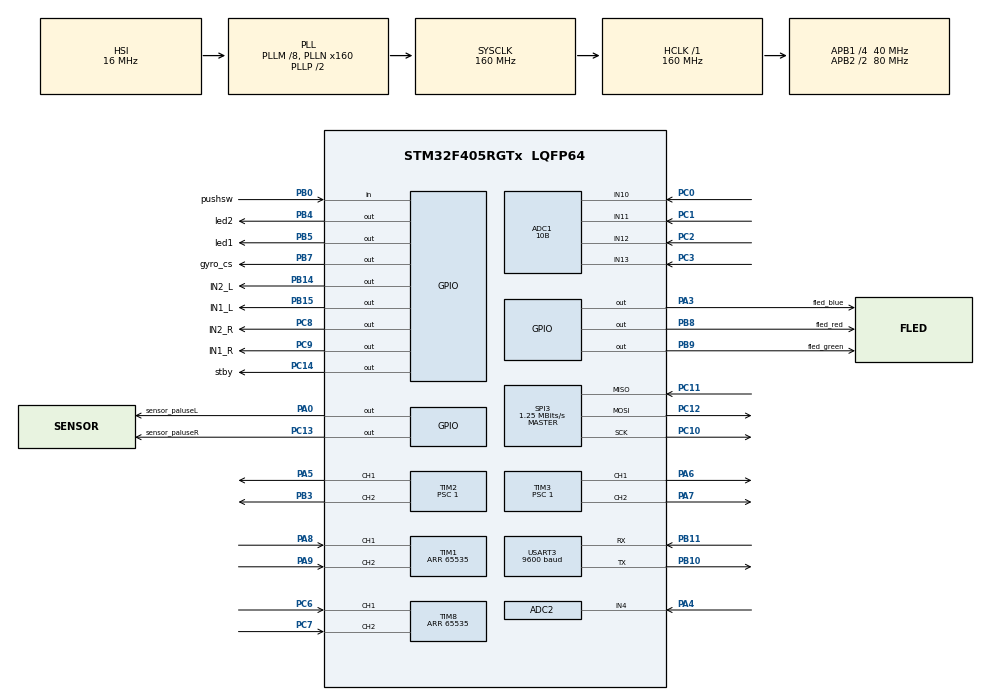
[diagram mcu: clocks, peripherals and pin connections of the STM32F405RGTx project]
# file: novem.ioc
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ADC1.Channel-0\#ChannelRegularConversion=ADC_CHANNEL_10
ADC1.Channel-1\#ChannelRegularConversion=ADC_CHANNEL_11
ADC1.Channel-2\#ChannelRegularConversion=ADC_CHANNEL_12
ADC1.Channel-3\#ChannelRegularConversion=ADC_CHANNEL_13
ADC1.ClockPrescaler=ADC_CLOCK_SYNC_PCLK_DIV4
ADC1.ContinuousConvMode=ENABLE
ADC1.DMAContinuousRequests=ENABLE
ADC1.DataAlign=ADC_DATAALIGN_RIGHT
ADC1.DiscontinuousConvMode=DISABLE
ADC1.EOCSelection=ADC_EOC_SINGLE_CONV
ADC1.EnableAnalogWatchDog=false
ADC1.ExternalTrigConv=ADC_SOFTWARE_START
ADC1.ExternalTrigConvEdge=ADC_EXTERNALTRIGCONVEDGE_NONE
ADC1.InjNumberOfConversion=0
ADC1.NbrOfConversion=4
ADC1.NbrOfConversionFlag=1
ADC1.Rank-0\#ChannelRegularConversion=1
ADC1.Rank-1\#ChannelRegularConversion=2
ADC1.Rank-2\#ChannelRegularConversion=3
ADC1.Rank-3\#ChannelRegularConversion=4
ADC1.Resolution=ADC_RESOLUTION_10B
ADC1.SamplingTime-0\#ChannelRegularConversion=ADC_SAMPLETIME_15CYCLES
ADC1.SamplingTime-1\#ChannelRegularConversion=ADC_SAMPLETIME_15CYCLES
ADC1.SamplingTime-2\#ChannelRegularConversion=ADC_SAMPLETIME_15CYCLES
ADC1.SamplingTime-3\#ChannelRegularConversion=ADC_SAMPLETIME_15CYCLES
ADC1.ScanConvMode=ENABLE
ADC1.master=1
ADC2.Channel-0\#ChannelRegularConversion=ADC_CHANNEL_4
ADC2.ClockPrescaler=ADC_CLOCK_SYNC_PCLK_DIV4
ADC2.ContinuousConvMode=ENABLE
ADC2.DMAContinuousRequests=DISABLE
ADC2.DataAlign=ADC_DATAALIGN_RIGHT
ADC2.DiscontinuousConvMode=DISABLE
ADC2.EOCSelection=ADC_EOC_SINGLE_CONV
ADC2.EnableAnalogWatchDog=false
ADC2.ExternalTrigConv=ADC_SOFTWARE_START
ADC2.ExternalTrigConvEdge=ADC_EXTERNALTRIGCONVEDGE_NONE
ADC2.InjNumberOfConversion=0
ADC2.NbrOfConversion=1
ADC2.NbrOfConversionFlag=1
ADC2.Rank-0\#ChannelRegularConversion=1
ADC2.Resolution=ADC_RESOLUTION_10B
ADC2.SamplingTime-0\#ChannelRegularConversion=ADC_SAMPLETIME_28CYCLES
ADC2.ScanConvMode=DISABLE
Dma.ADC1.0.Direction=DMA_PERIPH_TO_MEMORY
Dma.ADC1.0.FIFOMode=DMA_FIFOMODE_DISABLE
Dma.ADC1.0.Instance=DMA2_Stream4
Dma.ADC1.0.MemDataAlignment=DMA_MDATAALIGN_HALFWORD
Dma.ADC1.0.MemInc=DMA_MINC_ENABLE
Dma.ADC1.0.Mode=DMA_NORMAL
Dma.ADC1.0.PeriphDataAlignment=DMA_PDATAALIGN_HALFWORD
Dma.ADC1.0.PeriphInc=DMA_PINC_DISABLE
Dma.ADC1.0.Priority=DMA_PRIORITY_LOW
Dma.Request0=ADC1
Mcu.Family=STM32F4
Mcu.Name=STM32F405RGTx
Mcu.Package=LQFP64
NVIC.DMA2_Stream4_IRQn=true\:0\:0\:false\:false\:true\:false
NVIC.PriorityGroup=NVIC_PRIORITYGROUP_4
PA0-WKUP.GPIO_Label=sensor_paluseL
PA0-WKUP.Signal=GPIO_Output
PA3.GPIO_Label=fled_blue
PA3.Signal=GPIO_Output
PA4.Signal=ADCx_IN4
PA5.Signal=S_TIM2_CH1_ETR
PA6.Signal=S_TIM3_CH1
PA7.Signal=S_TIM3_CH2
PA8.Signal=S_TIM1_CH1
PA9.Signal=S_TIM1_CH2
PB0.GPIO_Label=pushsw
PB0.Signal=GPIO_Input
PB10.Mode=Asynchronous
PB10.Signal=USART3_TX
PB11.Mode=Asynchronous
PB11.Signal=USART3_RX
PB14.GPIO_Label=IN2_L
PB14.Signal=GPIO_Output
PB15.GPIO_Label=IN1_L
PB15.Signal=GPIO_Output
PB3.Signal=S_TIM2_CH2
PB4.GPIO_Label=led2
PB4.Signal=GPIO_Output
PB5.GPIO_Label=led1
PB5.Signal=GPIO_Output
PB7.GPIO_Label=gyro_cs
PB7.Signal=GPIO_Output
PB8.GPIO_Label=fled_red
PB8.Signal=GPIO_Output
PB9.GPIO_Label=fled_green
PB9.Signal=GPIO_Output
PC0.Signal=ADCx_IN10
PC1.Signal=ADCx_IN11
PC10.Mode=Full_Duplex_Master
PC10.Signal=SPI3_SCK
PC11.Mode=Full_Duplex_Master
PC11.Signal=SPI3_MISO
PC12.Mode=Full_Duplex_Master
PC12.Signal=SPI3_MOSI
PC13-ANTI_TAMP.GPIO_Label=sensor_paluseR
PC13-ANTI_TAMP.Signal=GPIO_Output
PC14-OSC32_IN.GPIO_Label=stby
PC14-OSC32_IN.Signal=GPIO_Output
PC2.Signal=ADCx_IN12
PC3.Signal=ADCx_IN13
PC6.Signal=S_TIM8_CH1
PC7.Signal=S_TIM8_CH2
PC8.GPIO_Label=IN2_R
PC8.Signal=GPIO_Output
PC9.GPIO_Label=IN1_R
PC9.Signal=GPIO_Output
PH0-OSC_IN.Mode=HSE-External-Oscillator
PH0-OSC_IN.Signal=RCC_OSC_IN
PH1-OSC_OUT.Mode=HSE-External-Oscillator
PH1-OSC_OUT.Signal=RCC_OSC_OUT
ProjectManager.HeapSize=0x200
ProjectManager.StackSize=0x400
ProjectManager.TargetToolchain=Makefile
RCC.48MHZClocksFreq_Value=80000000
RCC.AHBFreq_Value=160000000
RCC.APB1CLKDivider=RCC_HCLK_DIV4
RCC.APB1Freq_Value=40000000
RCC.APB1TimFreq_Value=80000000
RCC.APB2CLKDivider=RCC_HCLK_DIV2
RCC.APB2Freq_Value=80000000
RCC.APB2TimFreq_Value=160000000
RCC.CortexFreq_Value=160000000
RCC.HCLKFreq_Value=160000000
RCC.HSE_VALUE=20000000
RCC.HSI_VALUE=16000000
RCC.LSE_VALUE=32768
RCC.PLLM=8
RCC.PLLN=160
RCC.SYSCLKFreq_VALUE=160000000
RCC.SYSCLKSource=RCC_SYSCLKSOURCE_PLLCLK
RCC.VCOOutputFreq_Value=320000000
SH.ADCx_IN10.0=ADC1_IN10,IN10
SH.ADCx_IN11.0=ADC1_IN11,IN11
SH.ADCx_IN12.0=ADC1_IN12,IN12
SH.ADCx_IN13.0=ADC1_IN13,IN13
SH.ADCx_IN4.0=ADC2_IN4,IN4
SH.S_TIM1_CH1.0=TIM1_CH1,Encoder_Interface
SH.S_TIM1_CH2.0=TIM1_CH2,Encoder_Interface
SH.S_TIM2_CH1_ETR.0=TIM2_CH1,PWM Generation1 CH1
SH.S_TIM2_CH2.0=TIM2_CH2,PWM Generation2 CH2
SH.S_TIM3_CH1.0=TIM3_CH1,PWM Generation1 CH1
SH.S_TIM3_CH2.0=TIM3_CH2,PWM Generation2 CH2
SH.S_TIM8_CH1.0=TIM8_CH1,Encoder_Interface
SH.S_TIM8_CH2.0=TIM8_CH2,Encoder_Interface
SPI3.BaudRatePrescaler=SPI_BAUDRATEPRESCALER_32
SPI3.CalculateBaudRate=1.25 MBits/s
SPI3.Direction=SPI_DIRECTION_2LINES
SPI3.Mode=SPI_MODE_MASTER
SPI3.VirtualType=VM_MASTER
TIM1.EncoderMode=TIM_ENCODERMODE_TI12
TIM1.Period=65535
TIM2.Channel-PWM\ Generation1\ CH1=TIM_CHANNEL_1
TIM2.Channel-PWM\ Generation2\ CH2=TIM_CHANNEL_2
TIM2.Period=399
TIM2.Prescaler=1
TIM3.Channel-PWM\ Generation1\ CH1=TIM_CHANNEL_1
TIM3.Channel-PWM\ Generation2\ CH2=TIM_CHANNEL_2
TIM3.Period=399
TIM3.Prescaler=1
TIM8.EncoderMode=TIM_ENCODERMODE_TI12
TIM8.Period=65535
USART3.BaudRate=9600
USART3.VirtualMode=VM_ASYNC
board=novem

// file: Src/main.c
/* USER CODE BEGIN Header */
/**
  ******************************************************************************
  * @file           : main.c
  * @brief          : Main program body
  ******************************************************************************
  ** This notice applies to any and all portions of this file
  * that are not between comment pairs USER CODE BEGIN and
  * USER CODE END. Other portions of this file, whether
  * inserted by the user or by software development tools
  * are owned by their respective copyright owners.
  *
  * COPYRIGHT(c) 2018 STMicroelectronics
  *
  * Redistribution and use in source and binary forms, with or without modification,
  * are permitted provided that the following conditions are met:
  *   1. Redistributions of source code must retain the above copyright notice,
  *      this list of conditions and the following disclaimer.
  *   2. Redistributions in binary form must reproduce the above copyright notice,
  *      this list of conditions and the following disclaimer in the documentation
  *      and/or other materials provided with the distribution.
  *   3. Neither the name of STMicroelectronics nor the names of its contributors
  *      may be used to endorse or promote products derived from this software
  *      without specific prior written permission.
  *
  * THIS SOFTWARE IS PROVIDED BY THE COPYRIGHT HOLDERS AND CONTRIBUTORS "AS IS"
  * AND ANY EXPRESS OR IMPLIED WARRANTIES, INCLUDING, BUT NOT LIMITED TO, THE
  * IMPLIED WARRANTIES OF MERCHANTABILITY AND FITNESS FOR A PARTICULAR PURPOSE ARE
  * DISCLAIMED. IN NO EVENT SHALL THE COPYRIGHT HOLDER OR CONTRIBUTORS BE LIABLE
  * FOR ANY DIRECT, INDIRECT, INCIDENTAL, SPECIAL, EXEMPLARY, OR CONSEQUENTIAL
  * DAMAGES (INCLUDING, BUT NOT LIMITED TO, PROCUREMENT OF SUBSTITUTE GOODS OR
  * SERVICES; LOSS OF USE, DATA, OR PROFITS; OR BUSINESS INTERRUPTION) HOWEVER
  * CAUSED AND ON ANY THEORY OF LIABILITY, WHETHER IN CONTRACT, STRICT LIABILITY,
  * OR TORT (INCLUDING NEGLIGENCE OR OTHERWISE) ARISING IN ANY WAY OUT OF THE USE
  * OF THIS SOFTWARE, EVEN IF ADVISED OF THE POSSIBILITY OF SUCH DAMAGE.
  *
  ******************************************************************************
  */
/* USER CODE END Header */

#include "main.h"
#include "adc.h"
#include "dma.h"
#include "spi.h"
#include "tim.h"
#include "usart.h"
#include "gpio.h"

/* USER CODE BEGIN Includes */
#include <stdio.h>
#include <stdint.h>

#include "variable.h"
#include "function.h"
#include "led.h"
#include "buzzer.h"

#include "run.h"

#include "mode.h"

#ifdef __GNUC__
#define PUTCHAR_PROTOTYPE int __io_putchar(int ch)
#else
#define PUTCHAR_PROTOTYPE int fputc(int ch, FILE *f)
#endif /* __GNUC__ */
void __io_putchar(uint8_t ch) {
HAL_UART_Transmit(&huart3, &ch, 1, 1);
}
/* USER CODE END Includes */

/* USER CODE BEGIN PV */
/* Private variables ---------------------------------------------------------*/

/* USER CODE END PV */

void SystemClock_Config(void);
/* USER CODE BEGIN PFP */
/* Private function prototypes -----------------------------------------------*/

/* USER CODE END PFP */

int main(void)
{

  /* MCU Configuration--------------------------------------------------------*/

  /* Reset of all peripherals, Initializes the Flash interface and the Systick. */
  HAL_Init();

  /* Configure the system clock */
  SystemClock_Config();

  /* Initialize all configured peripherals */
  MX_GPIO_Init();
  MX_DMA_Init();
  MX_ADC1_Init();
  MX_ADC2_Init();
  MX_USART3_UART_Init();
  MX_SPI3_Init();
  MX_TIM8_Init();
  MX_TIM1_Init();
  MX_TIM3_Init();
  MX_TIM2_Init();
  /* USER CODE BEGIN 2 */
  machine_init();
  //setIrledPwm( IRLED_ON );
  /* USER CODE END 2 */

  /* Infinite loop */
  while (1)
  {

    /* USER CODE BEGIN 3 */
    printf( "gyro z%f, batt_voltage : %f\r",rotation_real.velocity, batt_monitor );

    if( mode_counter == 0 ){
      certainLedOut( LED_FRONT );
      fullColorLedOut( LED_OFF );
    } else if ( mode_counter == 8 ){
      certainLedOut( LED_BOTH );
      fullColorLedOut( LED_OFF );
    } else {
      certainLedOut( LED_OFF );
      fullColorLedOut( mode_counter );
    }

    if ( mode_distance > 30.0f ){
      mode_counter++;
      mode_distance = 0.0f;
      if ( mode_counter > 8 ) mode_counter = 0;
      buzzermodeSelect( mode_counter );
      waitMotion( 300 );
    }

    if ( mode_distance < -30.0f ){
      mode_counter--;
      mode_distance = 0.0f;
      if ( mode_counter < 0 ) mode_counter = 8;
      buzzermodeSelect( mode_counter );
      waitMotion( 300 );
    }

    if ( getPushsw() ){
      modeSelect( mode_counter );
    }

    if ( batt_monitor < 7.2f ){
      while( 1 ){
        certainLedOut( LED_REAR );
        fullColorLedOut( LED_RED );
        waitMotion( 1000 );
        certainLedOut( LED_OFF );
        fullColorLedOut( LED_OFF );
        waitMotion( 1000 );
      }
    }
  }
  /* USER CODE END 3 */
}

void SystemClock_Config(void)
{
  RCC_OscInitTypeDef RCC_OscInitStruct = {0};
  RCC_ClkInitTypeDef RCC_ClkInitStruct = {0};

  /**Configure the main internal regulator output voltage
  */
  __HAL_RCC_PWR_CLK_ENABLE();
  __HAL_PWR_VOLTAGESCALING_CONFIG(PWR_REGULATOR_VOLTAGE_SCALE1);
  /**Initializes the CPU, AHB and APB busses clocks
  */
  RCC_OscInitStruct.OscillatorType = RCC_OSCILLATORTYPE_HSI;
  RCC_OscInitStruct.HSIState = RCC_HSI_ON;
  RCC_OscInitStruct.HSICalibrationValue = RCC_HSICALIBRATION_DEFAULT;
  RCC_OscInitStruct.PLL.PLLState = RCC_PLL_ON;
  RCC_OscInitStruct.PLL.PLLSource = RCC_PLLSOURCE_HSI;
  RCC_OscInitStruct.PLL.PLLM = 8;
  RCC_OscInitStruct.PLL.PLLN = 160;
  RCC_OscInitStruct.PLL.PLLP = RCC_PLLP_DIV2;
  RCC_OscInitStruct.PLL.PLLQ = 4;
  if (HAL_RCC_OscConfig(&RCC_OscInitStruct) != HAL_OK)
  {
    Error_Handler();
  }
  /**Initializes the CPU, AHB and APB busses clocks
  */
  RCC_ClkInitStruct.ClockType = RCC_CLOCKTYPE_HCLK|RCC_CLOCKTYPE_SYSCLK
                              |RCC_CLOCKTYPE_PCLK1|RCC_CLOCKTYPE_PCLK2;
  RCC_ClkInitStruct.SYSCLKSource = RCC_SYSCLKSOURCE_PLLCLK;
  RCC_ClkInitStruct.AHBCLKDivider = RCC_SYSCLK_DIV1;
  RCC_ClkInitStruct.APB1CLKDivider = RCC_HCLK_DIV4;
  RCC_ClkInitStruct.APB2CLKDivider = RCC_HCLK_DIV2;

  if (HAL_RCC_ClockConfig(&RCC_ClkInitStruct, FLASH_LATENCY_5) != HAL_OK)
  {
    Error_Handler();
  }
}

void Error_Handler(void)
{
  while(1)
  {
  }
}

/************************ (C) COPYRIGHT STMicroelectronics *****END OF FILE****/
